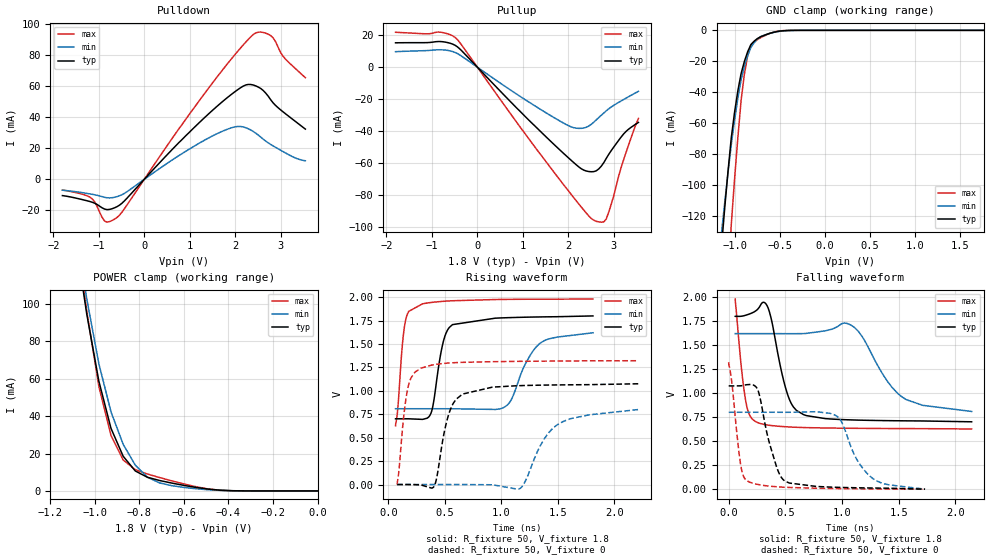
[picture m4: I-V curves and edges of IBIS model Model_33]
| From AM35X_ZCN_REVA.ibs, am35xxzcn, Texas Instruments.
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| Model based on original model for BQ1833DV40DTPBFZP18LL_7LM
|   Sub model LL_7LM_PD_PU_OFF_1P8
[model]   Model_33
|[Description]  1.8V-I/O-PI-X
|[Input Load]   PI
|[Output Drive]
|Voltage   1.8V
|Mode   I/O
Model_type   I/O
Polarity   Non-Inverting
Enable   Active-Low
Vinl =  0.63V
Vinh =  1.17V
Cref =  15pF
Rref =  100.0000M
Vref =  0V
Vmeas =  0.9
C_comp   2.161439p   2.02467p   2.204523p
[Model Spec]
Vinl   0.63V   0.567V   0.693V
Vinh   1.17V   1.053V   1.287V
[Temperature Range]   25   125   -40
[Voltage Range]   1.8   1.62   1.98
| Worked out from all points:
|   slope of the pulldown table from 0 to 0.27 V, typ, clamps not added: 31.5 ohm
|   slope of the pullup table from 0 to 0.27 V, typ, clamps not added: 33.5 ohm
|   GND clamp passes 1 mA (typ) near -0.54 V on its own axis
|   POWER clamp passes 1 mA (typ) near -0.49 V on its own axis
|   rising waveform, R_fixture 50, V_fixture 1.8: 20-80 % time 93.8ps typ, 189ps min, 56.7ps max; typ from 0.702 V to 1.8 V
|   rising waveform, R_fixture 50, V_fixture 0: 20-80 % time 124ps typ, 244ps min, 76ps max; typ from 0 V to 1.08 V
|   falling waveform, R_fixture 50, V_fixture 1.8: 20-80 % time 133ps typ, 278ps min, 76ps max; typ from 1.8 V to 0.702 V
|   falling waveform, R_fixture 50, V_fixture 0: 20-80 % time 135ps typ, 207ps min, 71.4ps max; typ from 1.08 V to 0 V
[POWER_clamp]
-1.8V     842.2mA    869.1mA    912.5mA
-1.055V   109mA      116.8mA    112.5mA
-1.036V   94.63mA    102.8mA    96.22mA
-981.8mV  58.65mA    67.99mA    55.86mA
-927.3mV  33.42mA    42.23mA    29.64mA
-872.7mV  18.54mA    24.92mA    16.54mA
-818.2mV  10.66mA    13.77mA    11.33mA
-763.6mV  7.291mA    7.319mA    9.029mA
-709.1mV  5.568mA    4.279mA    7.154mA
-654.5mV  4.197mA    2.818mA    5.381mA
-436.4mV  381.9uA    275.7uA    348.1uA
0V        17.81nA    62.52nA    29.22nA
[Pulldown]
-1.8V     -10.48mA   -6.986mA   -6.871mA
-1.145V   -14.76mA   -9.635mA   -12.53mA
-872.7mV  -19.16mA   -11.57mA   -26.86mA
-600mV    -17.63mA   -11.14mA   -24.6mA
1.636V    48.02mA    29.94mA    67.34mA
2.073V    58.19mA    34.17mA    83.16mA
2.291V    61.26mA    32.65mA    90.37mA
2.455V    60.31mA    29.78mA    94.52mA
2.618V    57.35mA    25.94mA    94.79mA
2.782V    51.42mA    22.55mA    92.8mA
3.055V    43.58mA    17.93mA    79.45mA
3.545V    32.44mA    11.99mA    65.6mA
[Pullup]
-1.8V     15.25mA    9.689mA    21.84mA
-818.2mV  16.04mA    10.87mA    21.92mA
-490.9mV  13.71mA    9.212mA    18.64mA
1.036V    -30.4mA    -20.07mA   -41.09mA
2.018V    -57.11mA   -36.81mA   -77.94mA
2.345V    -64.48mA   -38.06mA   -89.56mA
2.618V    -64.84mA   -32.95mA   -96.49mA
2.782V    -59.78mA   -28.7mA    -96.85mA
2.836V    -57.13mA   -27.34mA   -95.02mA
3V        -50.06mA   -23.92mA   -80.63mA
3.218V    -41.82mA   -20.26mA   -57.92mA
3.545V    -34.58mA   -15.09mA   -32.06mA
[GND_clamp]
-1.8V     -697.8mA   -553.2mA   -1.259A
-1.145V   -140.6mA   -131.7mA   -248.3mA
-1.109V   -115.1mA   -111.6mA   -203.3mA
-1.036V   -69.6mA    -74.07mA   -125.9mA
-1V       -53.16mA   -58.25mA   -96.51mA
-927.3mV  -27.95mA   -31.85mA   -45.33mA
-890.9mV  -20.12mA   -23.33mA   -28.4mA
-854.5mV  -13.86mA   -16.38mA   -16.49mA
-818.2mV  -9.165mA   -11mA      -9.583mA
-745.5mV  -5.275mA   -5.606mA   -5.955mA
-418.2mV  -132.4uA   -214.4uA   -105.2uA
1.764V    17.27nA    517.3nA    24.83nA
[Ramp]
dV/dt_f 0.74571253/0.14074253n 0.55178607/0.2941279n 0.90704744/80.275961p
dV/dt_r 0.66863633/0.12456096n 0.51015403/0.24472341n 0.81153294/76.403838p
R_load = 50
[Rising Waveform]
R_fixture = 50
V_fixture = 1.8
V_fixture_min = 1.62
V_fixture_max = 1.98
62.71ps   701.7mV    809.2mV    626.9mV
82.18ps   701.7mV    809.2mV    806.5mV
132.6ps   701.7mV    809.2mV    1.602V
180ps     701.6mV    809.2mV    1.849V
369.6ps   743.7mV    809.2mV    1.942V
486.7ps   1.53V      809.2mV    1.956V
567.2ps   1.707V     809.2mV    1.962V
1.027ns   1.78V      826.4mV    1.976V
1.336ns   1.789V     1.501V     1.979V
1.811ns   1.8V       1.62V      1.98V
[Rising Waveform]
R_fixture = 50
V_fixture = 0
V_fixture_min = 0
V_fixture_max = 0
77.25ps   9.701nV    106.6nV    8.922nV
168.9ps   35.85uV    1.728uV    1.013V
289.5ps   -4.96mV    2.35uV     1.243V
409.7ps   -5.784mV   -10.12uV   1.281V
529.4ps   733.2mV    -12.1uV    1.297V
656.1ps   965.8mV    37.27uV    1.304V
1.161ns   1.056V     -44.34mV   1.315V
1.379ns   1.061V     485mV      1.317V
1.5ns     1.063V     641.9mV    1.318V
2.214ns   1.076V     800.9mV    1.322V
[Falling Waveform]
R_fixture = 50
V_fixture = 1.8
V_fixture_min = 1.62
V_fixture_max = 1.98
57.98ps   1.8V       1.62V      1.98V
110.1ps   1.801V     1.62V      1.289V
149.8ps   1.812V     1.62V      922.7mV
244.7ps   1.862V     1.62V      699.5mV
342.1ps   1.903V     1.62V      668.2mV
518.3ps   991.2mV    1.62V      648.9mV
661.7ps   775.6mV    1.62V      641.8mV
1.072ns   721.7mV    1.712V     634.3mV
1.532ns   712mV      958mV      631.1mV
2.143ns   701.7mV    809.2mV    626.9mV
[Falling Waveform]
R_fixture = 50
V_fixture = 0
V_fixture_min = 0
V_fixture_max = 0
0s        1.076V     800.9mV    1.322V
29.56ps   1.075V     800.9mV    1.095V
103.4ps   1.076V     800.9mV    272.3mV
159.4ps   1.088V     800.9mV    88.64mV
258.8ps   1.028V     800.9mV    48.85mV
363.2ps   464mV      800.9mV    31.1mV
492.8ps   87.01mV    800.6mV    20mV
935.9ps   20mV       772.4mV    6.791mV
1.252ns   12.25mV    129.4mV    2.811mV
1.732ns   9.701nV    106.6nV    8.922nV
